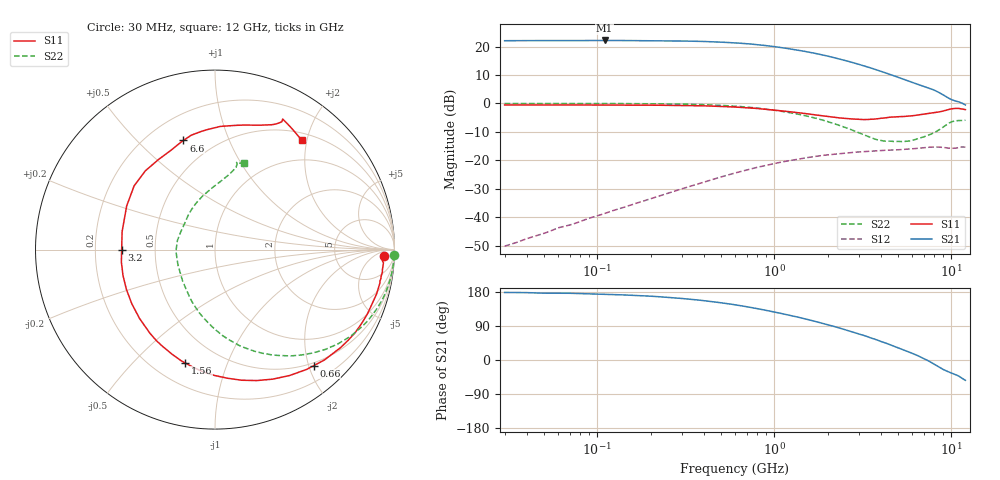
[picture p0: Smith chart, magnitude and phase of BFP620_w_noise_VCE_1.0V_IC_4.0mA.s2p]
! Infineon Technologies  Discrete & RF Semiconductors
! BFP620
! VCE =  1.0 V,  IC =  4.0 mA
! Common Emitter S-Parameters:  Nov 2015
# GHz  S  MA  R  50
!  f  S11  S21  S12  S22
! GHz  MAG  ANG  MAG  ANG  MAG  ANG  MAG  ANG
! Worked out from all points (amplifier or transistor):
!   239 points, 30 MHz to 12 GHz, reference 50 ohm
!   highest |S21| = 22.1 dB at 110 MHz (marker M1)
!   |S21| within 3 dB of that: start of sweep to 1.235 GHz
!   unconditionally stable (mu >= 1): 5.533 GHz to end of sweep
!   at 300 MHz: K = 0.06, MSG = 26.0 dB, |S12| = -30.0 dB
!   at 1.88 GHz: K = 0.44, MSG = 17.6 dB, |S12| = -18.3 dB
!   at 12 GHz: K = 1.26, MAG = 4.4 dB, |S12| = -15.4 dB
!   lowest NFmin = 0.63 dB at 450 MHz
!   S11 on the Smith chart (normalised r, x): 30 MHz: 23, -15; 660 MHz: 0.45, -2.08; 1.56 GHz: 0.33, -0.72; 3.2 GHz: 0.32, -0.00; 6.6 GHz: 0.34, +0.69; 12 GHz: 0.62, +1.91
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0.03  0.9416 -2.3  12.66 178.3  0.0031 87.9  0.9975 -1.7
0.085  0.9397 -6.5  12.73 174.9  0.009 87.0  0.9968 -4.7
0.11  0.9387 -8.5  12.79 173.2  0.0116 85.8  0.9955 -6.2
0.165  0.9358 -12.6  12.7 170.4  0.0175 82.9  0.9907 -9.2
0.24  0.9274 -18.3  12.59 165.9  0.0253 80.0  0.9818 -13.4
0.3  0.9215 -23.0  12.51 162.4  0.0315 77.3  0.9726 -16.7
0.4  0.9077 -30.6  12.28 156.6  0.0415 73.1  0.9511 -22.2
0.6  0.8657 -45.3  11.61 145.7  0.0599 64.7  0.8966 -32.6
0.66  0.8489 -49.6  11.37 142.6  0.0647 62.2  0.8757 -35.5
0.8  0.8153 -59.4  10.79 135.6  0.0753 57.1  0.8293 -42.1
1  0.7659 -72.3  9.976 126.7  0.0878 50.4  0.7604 -50.5
1.22  0.7155 -85.6  9.109 118.0  0.099 44.2  0.6891 -58.9
1.56  0.6529 -104.7  7.995 106.3  0.1125 36.1  0.591 -70.6
1.64  0.6394 -109.2  7.757 103.8  0.1152 34.5  0.5697 -73.3
1.96  0.595 -125.8  6.894 94.1  0.124 28.2  0.4894 -83.7
2.4  0.5531 -146.9  5.891 82.6  0.1324 21.4  0.3985 -97.3
3.2  0.52 -179.8  4.586 64.9  0.1424 11.3  0.2805 -123.5
4  0.5489 153.7  3.668 48.9  0.1491 3.1  0.2234 -157.5
4.5  0.5737 141.8  3.235 40.3  0.1513 -1.1  0.2178 -177.5
6.6  0.633 106.1  2.12 9.5  0.1638 -15.4  0.2451 126.5
8.8  0.7233 73.5  1.47 -22.3  0.1697 -34.0  0.3666 87.9
12  0.7782 51.7  0.942 -53.6  0.1704 -51.1  0.5073 71.2
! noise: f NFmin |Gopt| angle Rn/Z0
0.45  0.63  0.47  4  0.17
0.9  0.66  0.43  12  0.17
1.9  0.7  0.3  37  0.17
2.4  0.76  0.26  58  0.14
3.5  0.84  0.14  93  0.13
5.5  1.25  0.14  -174  0.13
10  1.94  0.61  -57  0.84
